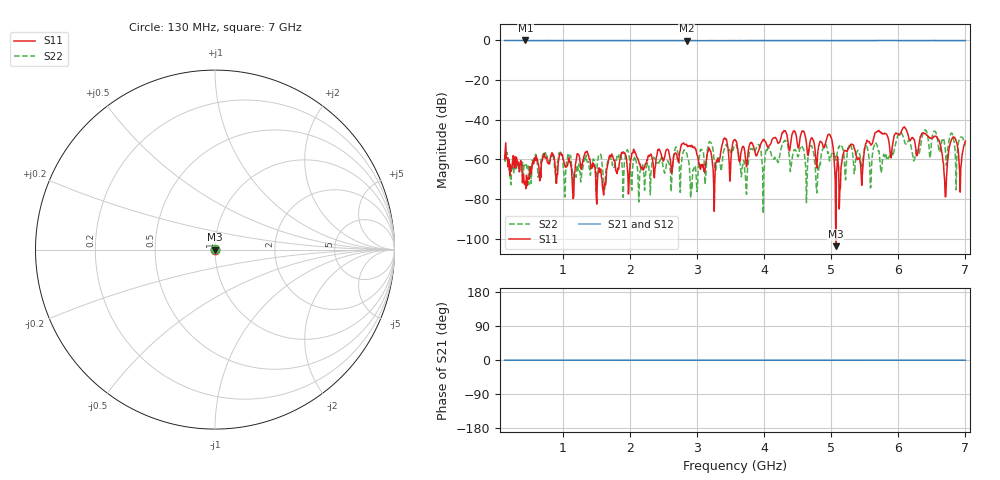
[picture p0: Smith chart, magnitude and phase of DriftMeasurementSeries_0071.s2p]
# Hz S RI R 50.000000
! Metas.Vna.Tools, 2.8.8664.20301
! Metas.Vna.Data, 2.8.8664.20285
! Created: UTC 2024.02.11 10:08:36
! FREQ  re:S1,1  im:S1,1  re:S2,1  im:S2,1  re:S1,2  im:S1,2  re:S2,2  im:S2,2
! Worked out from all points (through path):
!   801 points, 130 MHz to 7 GHz, reference 50 ohm
!   highest |S21| = 0.00 dB at 439.1 MHz (marker M1); lowest = -0.1 dB at 2.844 GHz (marker M2)
!   lowest |S11| = -103.7 dB at 5.068 GHz (marker M3), VSWR 1.00, Z = 50 - j0.000564 ohm
!   |S11| at or under -10 dB: start of sweep to end of sweep
!   |S22| runs from -87.2 to -45.0 dB; largest |S21 - S12| = 0.015
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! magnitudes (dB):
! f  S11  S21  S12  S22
! 130 MHz  -59.8  0.0  0.0  -59.8
! 439.1 MHz  -71.0  0.0  0.0  -63.4
! 1.281 GHz  -63.7  -0.1  0.0  -66.4
! 1.607 GHz  -77.9  -0.1  0.0  -76.2
! 1.71 GHz  -58.1  -0.1  0.0  -59.1
! 2.423 GHz  -55.3  -0.1  0.0  -61.8
! 2.844 GHz  -52.3  -0.1  0.0  -56.8
! 2.921 GHz  -52.8  -0.1  0.0  -75.3
! 3.264 GHz  -70.0  -0.1  0.0  -63.9
! 3.565 GHz  -49.9  -0.1  0.0  -52.7
! 3.711 GHz  -56.4  -0.1  0.0  -66.1
! 3.909 GHz  -56.4  0.0  0.0  -52.5
! 4.716 GHz  -49.2  -0.1  0.0  -53.9
! 4.793 GHz  -59.3  -0.1  0.0  -72.7
! 4.982 GHz  -47.6  -0.1  0.0  -59.2
! 5.068 GHz  -103.7  -0.1  0.0  -60.4
! 5.858 GHz  -50.7  0.0  0.0  -58.9
! 6.562 GHz  -48.4  -0.1  0.0  -46.6
! 6.699 GHz  -78.8  0.0  0.0  -54.6
! 6.802 GHz  -49.5  0.0  0.0  -46.9
! 6.923 GHz  -76.4  -0.1  0.0  -48.8
! 7 GHz  -50.7  0.0  0.0  -52.8
